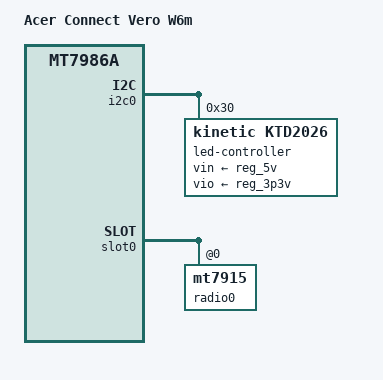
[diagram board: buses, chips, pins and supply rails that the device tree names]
// SPDX-License-Identifier: GPL-2.0-or-later OR MIT

/dts-v1/;
#include "mt7986a-acer-w6-common.dtsi"

/ {
	model = "Acer Connect Vero W6m";
	compatible = "acer,vero-w6m", "mediatek,mt7986a";

	aliases {
		serial0 = &uart0;
		led-boot = &led_status;
		led-failsafe = &led_status;
		led-running = &led_status;
		led-upgrade = &led_status;
	};
};

&i2c0 {
	led-controller@30 {
		compatible = "kinetic,ktd2026";
		reg = <0x30>;
		vin-supply = <&reg_5v>;
		vio-supply = <&reg_3p3v>;

		led_status: multi-led {
			color = <LED_COLOR_ID_RGB>;
			function = LED_FUNCTION_STATUS;
			#address-cells = <1>;
			#size-cells = <0>;

			led@0 {
				reg = <0>;
				color = <LED_COLOR_ID_RED>;
			};

			led@1 {
				reg = <1>;
				color = <LED_COLOR_ID_GREEN>;
			};

			led@2 {
				reg = <2>;
				color = <LED_COLOR_ID_BLUE>;
			};
		};
	};
};

&nvmem {
	eeprom_factory_a0000: eeprom@a0000 {
		reg = <0xa0000 0x1000>;
	};
};

&slot0 {
	radio0: mt7915@0,0 {
		reg = <0x0000 0 0 0 0>;
		nvmem-cells = <&eeprom_factory_a0000>;
		nvmem-cell-names = "eeprom";
	};
};

&swport0 {
       label = "internet";
};
